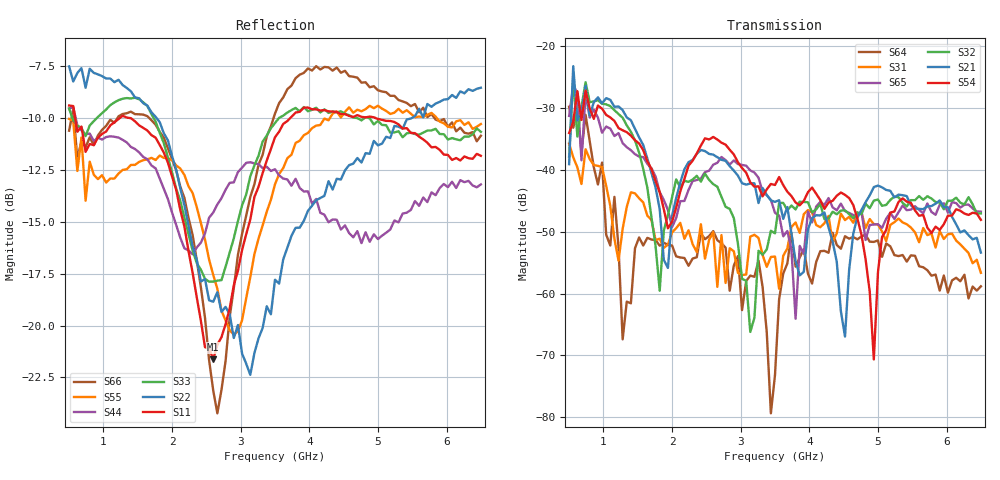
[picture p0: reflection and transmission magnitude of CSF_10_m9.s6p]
!Keysight Technologies,M9804A,MY58100912,A.14.10.03
!Date: Thursday, April 27, 2023 10:28:33
!Correction: S11(C  6-Port  )
!S12(C  6-Port  )
!S13(C  6-Port  )
!S14(C  6-Port  )
!S15(C  6-Port  )
!S16(C  6-Port  )
!S21(C  6-Port  )
!S22(C  6-Port  )
!S23(C  6-Port  )
!S24(C  6-Port  )
!S25(C  6-Port  )
!S26(C  6-Port  )
!S31(C  6-Port  )
!S32(C  6-Port  )
!S33(C  6-Port  )
!S34(C  6-Port  )
!S35(C  6-Port  )
!S36(C  6-Port  )
!S41(C  6-Port  )
!S42(C  6-Port  )
!S43(C  6-Port  )
!S44(C  6-Port  )
!S45(C  6-Port  )
!S46(C  6-Port  )
!S51(C  6-Port  )
!S52(C  6-Port  )
!S53(C  6-Port  )
!S54(C  6-Port  )
!S55(C  6-Port  )
!S56(C  6-Port  )
!S61(C  6-Port  )
!S62(C  6-Port  )
!S63(C  6-Port  )
!S64(C  6-Port  )
!S65(C  6-Port  )
!S66(C  6-Port  )
!S6P File: Measurement: :
# Hz S  RI  R 50
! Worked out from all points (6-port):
!   101 points, 500 MHz to 6.5 GHz, reference 50 ohm
!   strongest paths, dB at 500 MHz, 2 GHz, 3.5 GHz, 5 GHz, 6.5 GHz:
!     S54: -34.0, -48.4, -42.4, -56.6, -48.1
!     S21: -39.1, -47.4, -45.2, -42.5, -53.4
!     S32: -37.8, -44.4, -50.3, -44.8, -47.0
!     S65: -31.3, -49.2, -47.0, -48.8, -46.8
!     S31: -35.7, -50.1, -54.0, -48.8, -56.6
!     S64: -29.8, -52.2, -73.2, -51.4, -58.8
!   lowest |S11| = -21.6 dB at 2.6 GHz (marker M1), VSWR 1.18, Z = 42.6 + j2.06 ohm
!   |S11| at or under -10 dB: 588.5 MHz to 1.235 GHz (646 MHz wide, 70.9 % of centre); 1.402 GHz to 3.719 GHz (2.317 GHz wide, 90.5 % of centre); 4.974 GHz to end of sweep
